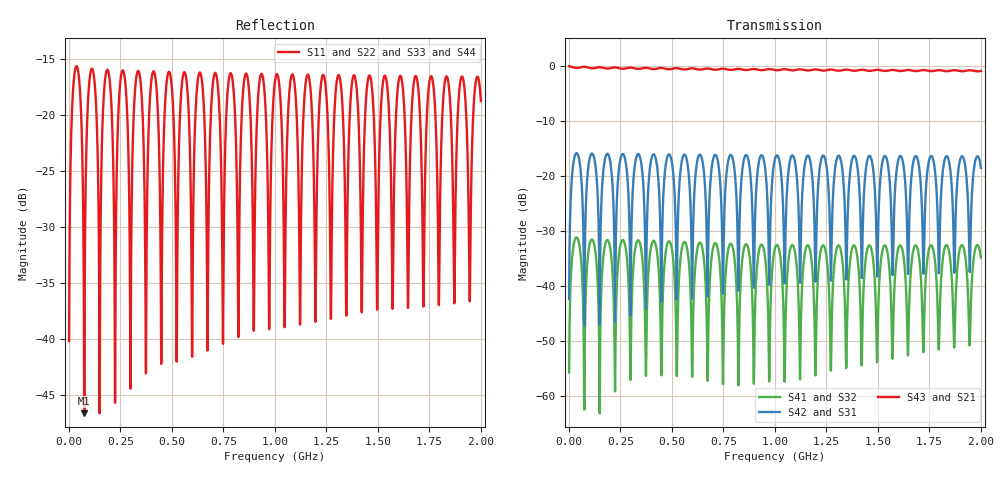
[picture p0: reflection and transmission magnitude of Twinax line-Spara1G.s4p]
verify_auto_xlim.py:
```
"""一次性验证脚本：用 Twinax line-Spara1G.s4p 跑时域分析对话框，
对比"自动时间窗口"开/关两种情形，并把图保存为 PNG。

用法：
  python dev_scripts/verify_auto_xlim.py

输出：
  dev_scripts/_out/auto_xlim_on.png
  dev_scripts/_out/auto_xlim_off.png
  控制台打印 suggest_time_window 返回值与完整时间轴范围。
"""
import io
import os
import sys

# 强制 UTF-8 输出（避免 Win 控制台 GBK 把中文打成乱码）
sys.stdout = io.TextIOWrapper(sys.stdout.buffer, encoding="utf-8", line_buffering=True)
sys.stderr = io.TextIOWrapper(sys.stderr.buffer, encoding="utf-8", line_buffering=True)

# 让 Qt 在无显示器的环境也能跑（PyInstaller / CI / 远程）
os.environ.setdefault("QT_QPA_PLATFORM", "offscreen")
os.environ.setdefault("SKRF_PLOT_ENV", "none")

import numpy as np

ROOT = os.path.abspath(os.path.join(os.path.dirname(__file__), ".."))
if ROOT not in sys.path:
    sys.path.insert(0, ROOT)

SAMPLE = os.path.join(ROOT, "samples", "Twinax line-Spara1G.s4p")
OUT_DIR = os.path.join(os.path.dirname(__file__), "_out")


def _setup_app():
    from qtpy.QtWidgets import QApplication
    app = QApplication.instance() or QApplication(sys.argv)
    from app_utils import configure_matplotlib
    configure_matplotlib()
    return app


def _make_viewer_with_file():
    from main_window import SParameterViewer_MainWin
    # 主窗口构造时会把 sys.stdout 重定向到自己的 QTextEdit；先保存再恢复
    _saved_stdout = sys.stdout
    viewer = SParameterViewer_MainWin(enable_time_domain=True)
    sys.stdout = _saved_stdout
    viewer.file_list.addItem(SAMPLE)
    # 触发文件加载到 NetworkService 缓存
    viewer.get_network(SAMPLE)
    # 选中文件
    viewer.file_list.item(0).setSelected(True)
    return viewer


def _open_dialog(viewer):
    from QS_dialogs.time_domain import TimeDomainDialog
    return TimeDomainDialog(
        viewer.s_data, viewer,
        network_service=viewer._net_svc,
        get_selected_files=viewer.get_selected_file_keys,
    )


def _plot_once(viewer, auto_xlim: bool, waveform_key: str,
               p1: int, p2: int, out_png: str) -> tuple:
    """在新对话框里画一次图。返回 (xlim_low, xlim_high)（当前单位）。"""
    dlg = _open_dialog(viewer)
    # 选定 waveform 单选钮
    for btn in dlg._wf_btn_group.buttons():
        if btn.property("wf_key") == waveform_key:
            btn.setChecked(True)
            dlg._on_waveform_changed(btn)
            break
    dlg._auto_xlim_cb.setChecked(auto_xlim)
    dlg._unit_combo.setCurrentText("ns")
    dlg._port1_edit.setText(str(p1))
    dlg._port2_edit.setText(str(p2))
    dlg._clear_port_pairs()
    dlg._add_port_pairs()
    dlg._run_plot()
    # 写出 figure
    if dlg.fig is not None:
        dlg.fig.savefig(out_png, dpi=110, bbox_inches="tight")
        xlim = dlg.ax.get_xlim()
        import matplotlib.pyplot as plt
        plt.close(dlg.fig)
    else:
        xlim = (None, None)
    dlg.close()
    return xlim


def main():
    import matplotlib
    matplotlib.use("Agg")  # 与对话框 QtAgg 不冲突，savefig 走 Agg 即可
    os.makedirs(OUT_DIR, exist_ok=True)

    app = _setup_app()
    viewer = _make_viewer_with_file()
    print(f"sample: {SAMPLE}")

    # 直接对算法跑一次拿数值结果
    from QS_domain.algorithms.time_domain import (
        compute_time_domain, suggest_time_window, td_default_params
    )
    network = viewer.get_network(SAMPLE)
    print(f"端口数 = {network.nports}, 频点数 = {len(network.f)}, "
          f"f_range = {network.f[0] / 1e9:.4f} ~ {network.f[-1] / 1e9:.4f} GHz")
    defaults = td_default_params(network)
    print(f"默认 tr={defaults['tr_ps']} ps, dt={defaults['dt_ps']} ps, "
          f"n={defaults['n_points']}, T_total={defaults['T_total_ps']:.1f} ps "
          f"(= {defaults['T_total_ps'] / 1000:.2f} ns)")

    print("\n-- algorithm only, S21 (port 1 -> port 2) --")
    for wf in ("TDR", "impulse", "step"):
        result = compute_time_domain(network, 1, 2, waveform=wf)
        lo_s, hi_s = suggest_time_window(
            result["impulse_h_t"], result["dt_s"], waveform=wf)
        full_s = result["time_ps"][-1] * 1e-12
        print(f"  [{wf:7s}]  suggest = {lo_s * 1e9:8.3f} ~ {hi_s * 1e9:8.3f} ns   "
              f"(full = 0 ~ {full_s * 1e9:.2f} ns,  "
              f"裁掉 {(1 - (hi_s - lo_s) / full_s) * 100:5.1f}%)")

    print("-- algorithm only, S11 (port 1 -> port 1) --")
    for wf in ("TDR", "impulse"):
        result = compute_time_domain(network, 1, 1, waveform=wf)
        lo_s, hi_s = suggest_time_window(
            result["impulse_h_t"], result["dt_s"], waveform=wf)
        full_s = result["time_ps"][-1] * 1e-12
        peak = float(np.abs(result["impulse_h_t"]).max())
        print(f"  [{wf:7s}]  suggest = {lo_s * 1e9:8.3f} ~ {hi_s * 1e9:8.3f} ns   "
              f"(full = 0 ~ {full_s * 1e9:.2f} ns,  "
              f"裁掉 {(1 - (hi_s - lo_s) / full_s) * 100:5.1f}%,  |h|_peak = {peak:.3e})")

    # 现在让对话框真正画一次（S21 TDR + S21 impulse，单图叠加），分别开/关 auto-xlim
    print("\n[UI] 自动窗口 ON  →  保存到 auto_xlim_on.png")
    xlim_on = _plot_once(viewer, auto_xlim=True, waveform_key="impulse",
                          p1=1, p2=2, out_png=os.path.join(OUT_DIR, "auto_xlim_on.png"))
    print(f"     ax.get_xlim() = {xlim_on[0]:.3f} ~ {xlim_on[1]:.3f} ns")

    print("[UI] 自动窗口 OFF →  保存到 auto_xlim_off.png")
    xlim_off = _plot_once(viewer, auto_xlim=False, waveform_key="impulse",
                           p1=1, p2=2, out_png=os.path.join(OUT_DIR, "auto_xlim_off.png"))
    print(f"     ax.get_xlim() = {xlim_off[0]:.3f} ~ {xlim_off[1]:.3f} ns")

    # TDR S11（同端口）也来一组
    print("[UI] TDR S11 + 自动窗口 ON  →  保存到 tdr_s11_auto_xlim_on.png")
    xlim_tdr_s11 = _plot_once(viewer, auto_xlim=True, waveform_key="TDR",
                           p1=1, p2=1, out_png=os.path.join(OUT_DIR, "tdr_s11_auto_xlim_on.png"))
    print(f"     ax.get_xlim() = {xlim_tdr_s11[0]:.3f} ~ {xlim_tdr_s11[1]:.3f} ns")

    # Step S21
    print("[UI] Step S21 + 自动窗口 ON  →  保存到 step_s21_auto_xlim_on.png")
    xlim_step = _plot_once(viewer, auto_xlim=True, waveform_key="step",
                           p1=1, p2=2, out_png=os.path.join(OUT_DIR, "step_s21_auto_xlim_on.png"))
    print(f"     ax.get_xlim() = {xlim_step[0]:.3f} ~ {xlim_step[1]:.3f} ns")

    viewer.close()
    print("\n完成。PNG 输出目录：", OUT_DIR)


if __name__ == "__main__":
    main()
```
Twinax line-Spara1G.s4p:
! TOUCHSTONE file generated by CST DESIGN STUDIO
! Date and time: Fri Sep 25 15:58:13 2020
! Project name: D:\¿ÆÑÐ¹¤×÷\mst-visit\CST\Twinax line-Spara1G.cst
! Tree item: Tasks\SPara1\S-Parameters
# MHZ S MA R 50
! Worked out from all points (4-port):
!   2000 points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, 1 MHz to 2 GHz, reference 50 ohm
!   strongest paths, dB at 1 MHz, 501 MHz, 1.001 GHz, 1.501 GHz, 2 GHz:
!     S43: 0.0, -0.5, -0.7, -0.7, -0.9
!     S21: 0.0, -0.5, -0.7, -0.7, -0.9
!     S42: -42.3, -17.7, -16.8, -30.2, -18.5
!     S31: -42.3, -17.7, -16.8, -30.2, -18.5
!     S41: -55.7, -33.5, -33.0, -45.2, -34.8
!     S32: -55.7, -33.5, -33.0, -45.2, -34.8
!   lowest |S11| = -46.7 dB at 74 MHz (marker M1), VSWR 1.01, Z = 50.3 - j0.356 ohm
!   |S11| at or under -10 dB: start of sweep to end of sweep
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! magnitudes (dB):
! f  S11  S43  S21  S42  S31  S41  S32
! 1 MHz  -40.2  0.0  0.0  -42.3  -42.3  -55.7  -55.7
! 74 MHz  -46.7  -0.1  -0.1  -46.6  -46.6  -60.8  -60.8
! 2 GHz  -18.7  -0.9  -0.9  -18.5  -18.5  -34.8  -34.8
